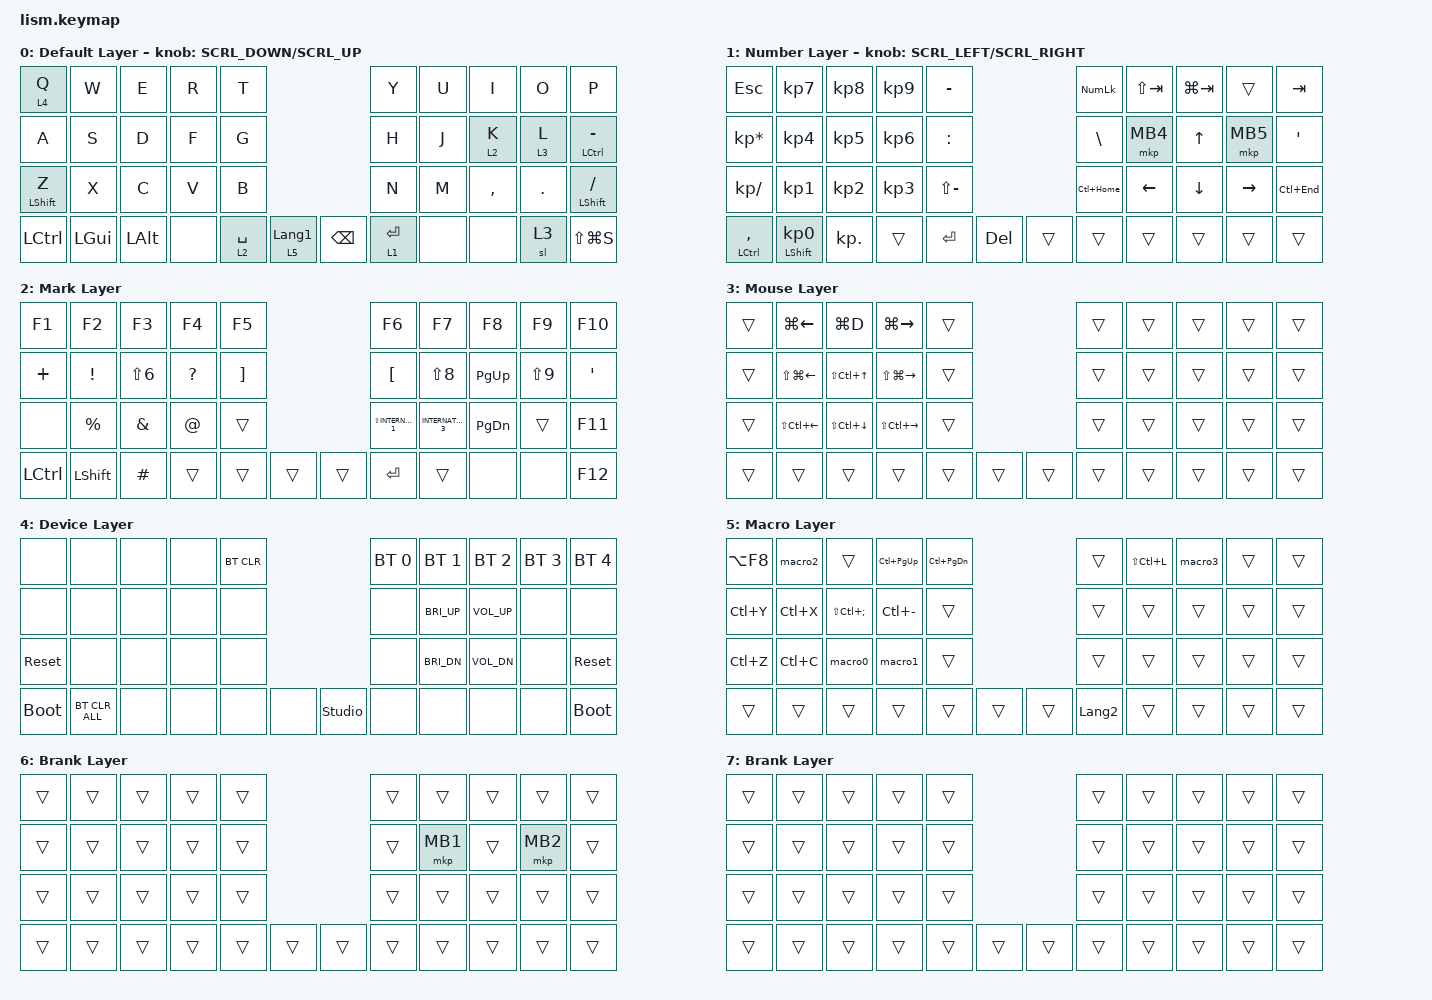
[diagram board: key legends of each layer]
#define ZMK_POINTING_DEFAULT_SCRL_VAL 200
#define MOUSE 6

#include <dt-bindings/zmk/mouse.h>
#include <behaviors.dtsi>
#include <dt-bindings/zmk/bt.h>
#include <dt-bindings/zmk/keys.h>
#include <dt-bindings/zmk/pointing.h>

&mkp_input_listener { input-processors = <&zip_temp_layer 6 250>; };

&mt {
    flavor = "balanced";
    quick-tap-ms = <0>;
};

&lt {
    quick-tap-ms = <0>; // 初期設定は300
    flavor = "balanced";
};

/ {
    macros {
        exit_AML: exit_AML {
            compatible = "zmk,behavior-macro";
            wait-ms = <0>;
            tap-ms = <0>;
            #binding-cells = <0>;
            bindings = <&tog_off MOUSE>;
            label = "exit_AML";
        };

        kp_exit_AML: kp_exit_AML {
            compatible = "zmk,behavior-macro-one-param";
            wait-ms = <0>;
            tap-ms = <0>;
            #binding-cells = <1>;
            bindings = <&macro_param_1to1 &kp MACRO_PLACEHOLDER &exit_AML>;
            label = "KP_exit_AML";
        };

        emoji: emoji_macro {
            compatible = "zmk,behavior-macro";
            label = "EMOJI";
            #binding-cells = <0>;
            bindings =
                <&macro_press>,
                <&kp CAPSLOCK>,
                <&macro_tap>,
                <&kp E>,
                <&macro_release>,
                <&kp CAPSLOCK>;
        };

        macro0: macro0 {
            compatible = "zmk,behavior-macro";
            #binding-cells = <0>;
            bindings = <&kp LA(LC(V)) &kp V &kp ENTER>;
            label = "MACRO0";
        };

        macro1: macro1 {
            compatible = "zmk,behavior-macro";
            #binding-cells = <0>;
            bindings = <&kp LA(H) &kp M &kp C &kp ENTER>;
            label = "MACRO1";
        };

        macro2: macro2 {
            compatible = "zmk,behavior-macro";
            #binding-cells = <0>;
            bindings = <&kp LC(G) &kp LA(S) &kp K &kp ENTER>;
            label = "MACRO2";
        };

        macro3: macro3 {
            compatible = "zmk,behavior-macro";
            #binding-cells = <0>;
            bindings = <&kp LEFT_ALT &kp D &kp F &kp S>;
            label = "MACRO3";
        };
    };

    behaviors {
        encoder_msc: sensor_rotate_msc {
            compatible = "zmk,behavior-sensor-rotate-var";
            #sensor-binding-cells = <2>;
            bindings = <&msc>, <&msc>;

            tap-ms = <20>;
        };

        encoder_kp: sensor_rotate_kp {
            compatible = "zmk,behavior-sensor-rotate-var";
            #sensor-binding-cells = <2>;
            bindings = <&kp>, <&kp>;
        };

        tog_off: toggle_layer_off {
            compatible = "zmk,behavior-toggle-layer";
            #binding-cells = <1>;
            display-name = "Toggle Layer Off";
            toggle-mode = "off";
        };

        mt_exit_AML_on_tap: mt_exit_AML_on_tap {
            compatible = "zmk,behavior-hold-tap";
            label = "MT_exit_AML_ON_TAP";
            bindings = <&kp>, <&kp_exit_AML>;

            #binding-cells = <2>;
            tapping-term-ms = <250>;
            flavor = "balanced";
            quick-tap-ms = <200>;
        };
    };

    combos {
        compatible = "zmk,combos";

        alt+ctrl+del {
            bindings = <&kp LA(LC(DELETE))>;
            key-positions = <9 37>;
        };
    };

    keymap {
        compatible = "zmk,keymap";

        default_layer {
            display-name = "Default Layer";
            bindings = <
&lt 4 Q                           &kp W         &kp E         &kp R  &kp T                                           &kp Y        &kp U  &kp I      &kp O    &kp P
&kp A                             &kp S         &kp D         &kp F  &kp G                                           &kp H        &kp J  &lt 2 K    &lt 3 L  &mt LCTRL MINUS
&mt_exit_AML_on_tap LEFT_SHIFT Z  &kp X         &kp C         &kp V  &kp B                                           &kp N        &kp M  &kp COMMA  &kp DOT  &mt LEFT_SHIFT SLASH
&kp LCTRL                         &kp LEFT_GUI  &kp LEFT_ALT  &none  &lt 2 SPACE  &lt 5 LANGUAGE_1    &kp BACKSPACE  &lt 1 ENTER  &none  &none      &sl 3    &kp LS(LG(S))
            >;

            sensor-bindings = <&encoder_msc SCRL_DOWN SCRL_UP>;
        };

        layer_1 {
            display-name = "Number Layer";
            bindings = <
&kp ESCAPE       &kp KP_NUMBER_7             &kp KP_NUMBER_8  &kp KP_NUMBER_9  &kp MINUS                         &kp KP_NUM     &kp LS(TAB)     &kp LG(TAB)  &trans           &kp TAB
&kp KP_MULTIPLY  &kp KP_NUMBER_4             &kp KP_NUMBER_5  &kp KP_NUMBER_6  &kp COLON                         &kp BACKSLASH  &mkp MB4        &kp UP       &mkp MB5         &kp SINGLE_QUOTE
&kp KP_SLASH     &kp KP_NUMBER_1             &kp KP_NUMBER_2  &kp KP_NUMBER_3  &kp LS(MINUS)                     &kp LC(HOME)   &kp LEFT_ARROW  &kp DOWN     &kp RIGHT_ARROW  &kp LC(END)
&mt LCTRL COMMA  &mt LEFT_SHIFT KP_NUMBER_0  &kp KP_DOT       &trans           &kp ENTER      &kp DEL    &trans  &trans         &trans          &trans       &trans           &trans
            >;

            sensor-bindings = <&encoder_msc SCRL_LEFT SCRL_RIGHT>;
        };

        layer_2 {
            display-name = "Mark Layer";
            bindings = <
&kp F1     &kp F2          &kp F3            &kp F4        &kp F5                               &kp F6                   &kp F7               &kp F8         &kp F9      &kp F10
&kp PLUS   &kp EXCL        &kp LS(NUMBER_6)  &kp QUESTION  &kp RIGHT_BRACKET                    &kp LEFT_BRACKET         &kp LS(N8)           &kp PAGE_UP    &kp LS(N9)  &kp SINGLE_QUOTE
&none      &kp PERCENT     &kp AMPS          &kp AT        &trans                               &kp LS(INTERNATIONAL_1)  &kp INTERNATIONAL_3  &kp PAGE_DOWN  &trans      &kp F11
&kp LCTRL  &kp LEFT_SHIFT  &kp HASH          &trans        &trans             &trans    &trans  &kp ENTER                &trans               &none          &none       &kp F12
            >;
        };

        layer_3 {
            display-name = "Mouse Layer";
            bindings = <
&trans  &kp LG(LEFT_ARROW)      &kp LG(D)               &kp LG(RIGHT_ARROW)      &trans                    &trans  &trans  &trans  &trans  &trans
&trans  &kp LS(LG(LEFT_ARROW))  &kp LS(LC(UP_ARROW))    &kp LS(LG(RIGHT_ARROW))  &trans                    &trans  &trans  &trans  &trans  &trans
&trans  &kp LS(LC(LEFT_ARROW))  &kp LS(LC(DOWN_ARROW))  &kp LS(LC(RIGHT_ARROW))  &trans                    &trans  &trans  &trans  &trans  &trans
&trans  &trans                  &trans                  &trans                   &trans  &trans    &trans  &trans  &trans  &trans  &trans  &trans
            >;
        };

        layer_4 {
            display-name = "Device Layer";
            bindings = <
&none        &none           &none  &none  &bt BT_CLR                           &bt BT_SEL 0  &bt BT_SEL 1  &bt BT_SEL 2  &bt BT_SEL 3  &bt BT_SEL 4
&none        &none           &none  &none  &none                                &none         &kp C_BRI_UP  &kp C_VOL_UP  &none         &none
&sys_reset   &none           &none  &none  &none                                &none         &kp C_BRI_DN  &kp C_VOL_DN  &none         &sys_reset
&bootloader  &bt BT_CLR_ALL  &none  &none  &none       &none    &studio_unlock  &none         &none         &none         &none         &bootloader
            >;
        };

        layer_5 {
            display-name = "Macro Layer";
            bindings = <
&kp LA(F8)  &macro2    &trans                 &kp LC(PAGE_UP)  &kp LC(PAGE_DOWN)                    &trans          &kp LS(LC(L))  &macro3  &trans  &trans
&kp LC(Y)   &kp LC(X)  &kp LS(LC(SEMICOLON))  &kp LC(MINUS)    &trans                               &trans          &trans         &trans   &trans  &trans
&kp LC(Z)   &kp LC(C)  &macro0                &macro1          &trans                               &trans          &trans         &trans   &trans  &trans
&trans      &trans     &trans                 &trans           &trans             &trans    &trans  &kp LANGUAGE_2  &trans         &trans   &trans  &trans
            >;
        };

        layer_6 {
            display-name = "Brank Layer";
            bindings = <
&trans  &trans  &trans  &trans  &trans                    &trans  &trans    &trans  &trans    &trans
&trans  &trans  &trans  &trans  &trans                    &trans  &mkp MB1  &trans  &mkp MB2  &trans
&trans  &trans  &trans  &trans  &trans                    &trans  &trans    &trans  &trans    &trans
&trans  &trans  &trans  &trans  &trans  &trans    &trans  &trans  &trans    &trans  &trans    &trans
            >;
        };

        layer_7 {
            display-name = "Brank Layer";
            bindings = <
&trans  &trans  &trans  &trans  &trans                    &trans  &trans  &trans  &trans  &trans
&trans  &trans  &trans  &trans  &trans                    &trans  &trans  &trans  &trans  &trans
&trans  &trans  &trans  &trans  &trans                    &trans  &trans  &trans  &trans  &trans
&trans  &trans  &trans  &trans  &trans  &trans    &trans  &trans  &trans  &trans  &trans  &trans
            >;
        };
    };
};
